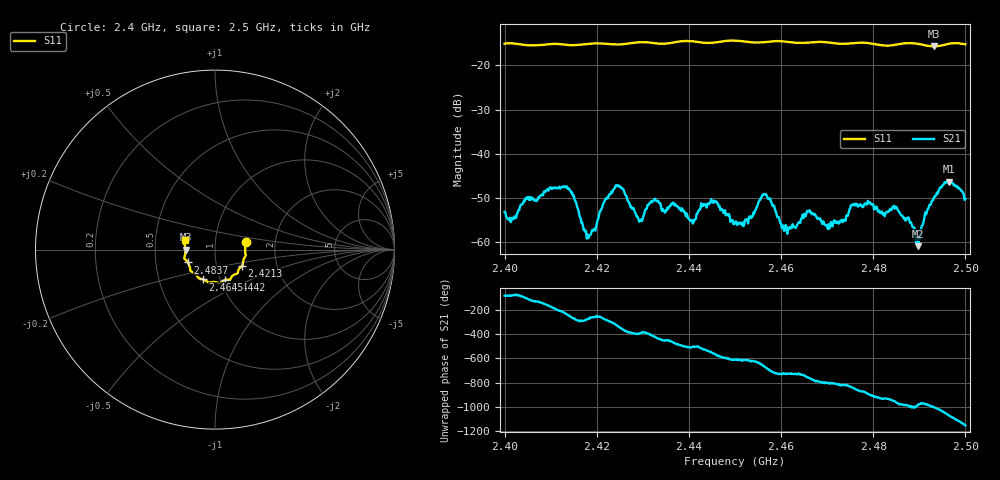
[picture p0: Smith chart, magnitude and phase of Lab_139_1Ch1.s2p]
# Hz S RI R 50
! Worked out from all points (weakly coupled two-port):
!   601 points, 2.4 GHz to 2.5 GHz, reference 50 ohm
!   highest |S21| = -46.32 dB at 2.4965 GHz (marker M1); lowest = -60.9 dB at 2.4897 GHz (marker M2)
!   lowest |S11| = -15.7 dB at 2.4932 GHz (marker M3), VSWR 1.39, Z = 35.9 - j0.0552 ohm
!   |S11| at or under -10 dB: start of sweep to end of sweep
!   S12 and S22 are empty: the file has one direction only
!   S11 on the Smith chart (normalised r, x): 2.4 GHz: 1.41, +0.12; 2.4213 GHz: 1.33, -0.25; 2.4442 GHz: 1.05, -0.37; 2.4645 GHz: 0.83, -0.29; 2.4837 GHz: 0.73, -0.11; 2.5 GHz: 0.71, +0.07
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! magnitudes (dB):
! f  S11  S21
! 2.4 GHz  -15.1  -53.1
! 2.413 GHz  -15.3  -47.3
! 2.4167 GHz  -15.3  -55.7
! 2.4183 GHz  -15.1  -58.6
! 2.4213 GHz  -15.1  -51.5
! 2.4245 GHz  -15.3  -47.2
! 2.4293 GHz  -14.8  -55.3
! 2.4333 GHz  -15.1  -50.6
! 2.4407 GHz  -14.6  -55.0
! 2.4442 GHz  -15.0  -51.3
! 2.45 GHz  -14.4  -55.7
! 2.4563 GHz  -14.8  -49.1
! 2.4608 GHz  -14.7  -57.0
! 2.4645 GHz  -15.0  -54.6
! 2.4667 GHz  -14.8  -53.7
! 2.4702 GHz  -14.8  -57.0
! 2.4833 GHz  -15.6  -53.1
! 2.4837 GHz  -15.5  -52.4
! 2.4897 GHz  -15.1  -60.9
! 2.4932 GHz  -15.7  -49.9
! 2.4965 GHz  -15.1  -46.3
! 2.5 GHz  -15.3  -50.2
